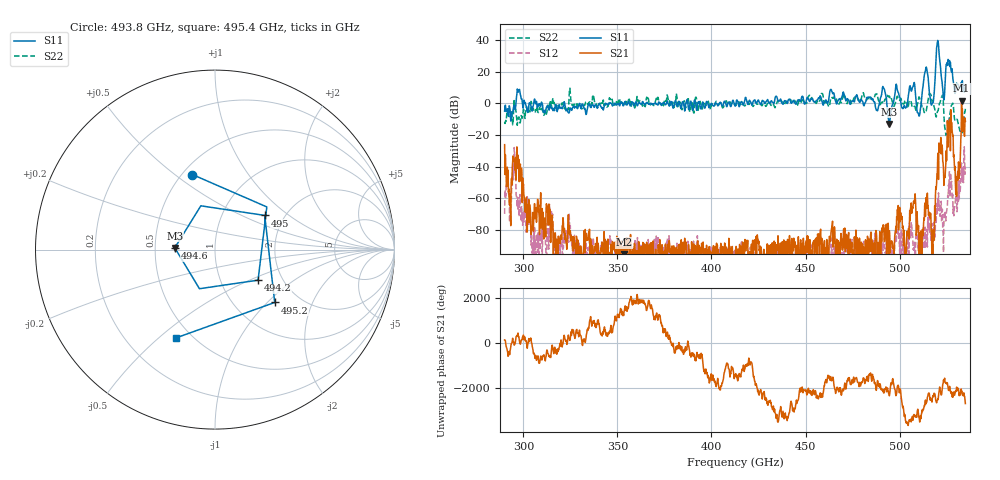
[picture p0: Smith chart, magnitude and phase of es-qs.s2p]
!Created with skrf (http://scikit-rf.org).
# GHz S RI R 50.0
!freq ReS11 ImS11 ReS21 ImS21 ReS12 ImS12 ReS22 ImS22
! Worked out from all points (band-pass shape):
!   1201 points, 290 GHz to 535 GHz, reference 50 ohm
!   highest |S21| = 1.82 dB at 533 GHz (marker M1); lowest = -119.0 dB at 353.5 GHz (marker M2)
!   |S21| within 3 dB of the highest: 532.9276 GHz to 533.0197 GHz (92.05 MHz wide, 0.0173 % of centre)
!   lowest |S11| = -13.0 dB at 494.6 GHz (marker M3), VSWR 1.58, Z = 31.7 + j0.65 ohm
!   |S11| at or under -10 dB: 293.2176 GHz to 293.5701 GHz (352.5 MHz wide, 0.12 % of centre); 494.1054 GHz to 494.9373 GHz (831.9 MHz wide, 0.168 % of centre)
!   |S22| runs from -20.4 to 9.6 dB; largest |S21 - S12| = 1.2
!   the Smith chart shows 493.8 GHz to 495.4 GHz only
!   S11 on the Smith chart (normalised r, x): 493.8 GHz: 0.56, +0.58; 494.2 GHz: 1.51, -0.56; 494.6 GHz: 0.63, +0.01; 495 GHz: 1.59, +0.68; 495.2 GHz: 1.51, -1.11; 495.4 GHz: 0.41, -0.57
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290  -0.5548 -0.117  -0.0334 0.0366  -0.000241 0.000218  -0.2568 0.0478
331.0375  -0.5775 0.6485  -8.02e-07 1.46e-05  -6.97e-06 -1.18e-05  0.4672 -0.4734
353.4958  -0.5538 0.7847  7.22e-07 -8.61e-07  -2.11e-06 -8.59e-06  0.6317 0.48
371.6667  -0.6654 0.6236  2.71e-05 -2.04e-05  -2.5e-05 5.83e-05  1.184 0.9201
412.5  -0.6494 0.5054  4.82e-06 1.41e-07  2.27e-05 -1.47e-06  0.8604 0.1488
453.5375  0.7122 -1.252  -9.52e-06 -6e-06  3.33e-05 -7.05e-06  0.7053 -1.169
493.7583  -0.1264 0.4183  2.2e-05 8.52e-05  -1.56e-05 -1.66e-06  -1.018 1.343
494.1667  0.24 -0.1703  2.15e-05 -5.7e-05  1.88e-05 -1.39e-06  -0.1506 1.63
494.575  -0.224 0.00974  -9.46e-05 -8.97e-06  4.35e-06 1.23e-05  1.393 0.9584
494.9833  0.2769 0.1905  9.35e-07 1.93e-05  -1.65e-05 2.73e-05  1.215 -0.8817
495.1875  0.3328 -0.2945  -1.75e-05 -1.75e-05  -6.36e-06 -8.12e-06  0.4727 -1.48
495.3917  -0.2185 -0.4925  2.89e-05 2.07e-05  2.53e-05 6.36e-06  -0.67 -1.482
517.6458  1.045 0.0594  -8.2e-06 1.83e-06  -9.79e-06 3.69e-05  0.6166 1.014
518.2583  -1.641 -0.3069  3.25e-05 -7.45e-05  -6.77e-05 0.000161  -0.015 -0.8307
519.4833  36.11 -0.4938  0.000694 -0.00185  0.000159 1.86e-05  0.3627 -0.0811
520.0958  83.56 9.76  0.00642 -0.0013  0.000326 2.2e-05  -0.4358 -0.3214
520.9125  42.38 -21.27  0.0501 -0.0251  0.000769 2.35e-05  0.2228 0.7918
522.5458  3.564 3.637  0.0414 0.0261  0.000206 0.000162  -1.487 -0.7139
524.7917  -15.69 6.738  0.0201 0.0247  6.45e-05 0.000306  -0.0958 -0.00221
527.4458  -9.576 -5.133  0.0205 -0.1216  -0.00204 -0.000386  0.809 -0.1406
532.9583  -4.095 2.118  1.211 0.233  -0.0124 0.00416  -0.0919 0.1378
535  -2.685 0.2333  -0.2485 -0.1067  0.00264 0.00949  0.4867 -0.483
